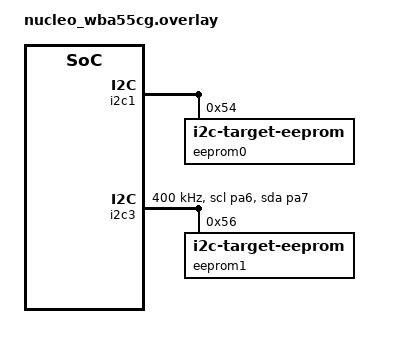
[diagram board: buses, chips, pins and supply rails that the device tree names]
/*
 * Copyright (c) 2025 STMicroelectronics
 * SPDX-License-Identifier: Apache-2.0
 */

/* I2C bus pins are exposed on the ST morpho header.
 *
 *  Bus        SDA               SCL
 *          Pin   Hdr         Pin   Hdr
 *  i2c1    PB1   CN6:9      PB2   CN6:10
 *  i2c3    PA7   CN7:1      PA6   CN7:2
 *
 * Short Pin PB1 to PA7, and PB2 to PA6, for the test to pass.
 */

&i2c1 {
	eeprom0: eeprom@54 {
		compatible = "zephyr,i2c-target-eeprom";
		reg = <0x54>;
		size = <256>;
	};
};

&i2c3 {
	pinctrl-0 = <&i2c3_scl_pa6 &i2c3_sda_pa7>;
	pinctrl-names = "default";
	status = "okay";
	clock-frequency = <I2C_BITRATE_FAST>;
	eeprom1: eeprom@56 {
		compatible = "zephyr,i2c-target-eeprom";
		reg = <0x56>;
		size = <256>;
	};
};
